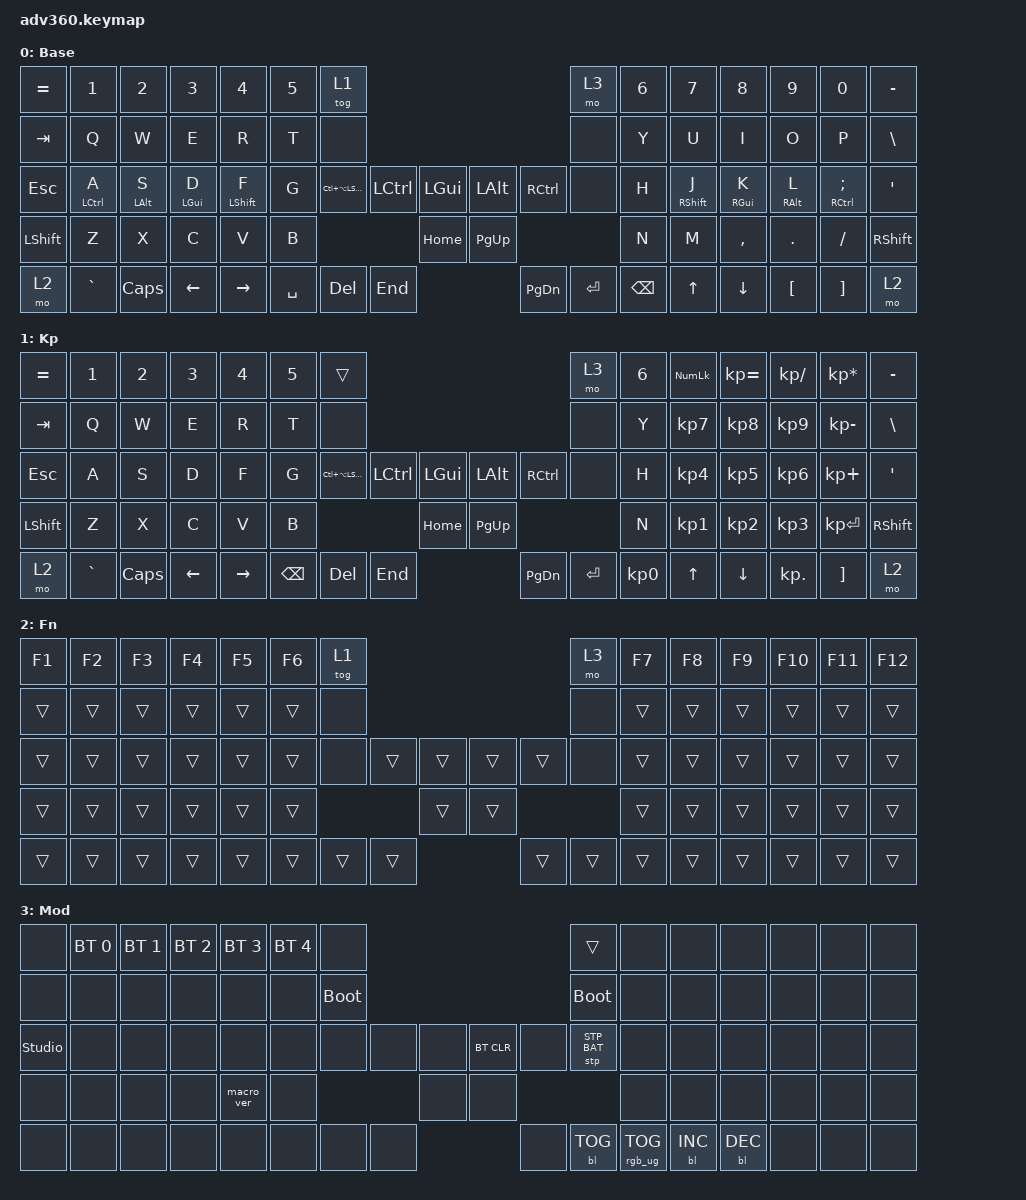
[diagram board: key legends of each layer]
#include <behaviors.dtsi>
#include <dt-bindings/zmk/keys.h>
#include <dt-bindings/zmk/bt.h>
#include <dt-bindings/zmk/rgb.h>
#include <dt-bindings/zmk/stp.h>
#include <dt-bindings/zmk/backlight.h>
#include <dt-bindings/zmk/pointing.h>

/* Key positions, from assets/key-positions.md. Used by the positional
 * hold-tap below: a home row mod only engages when the key that follows
 * it is on the other hand or on a thumb. */
#define KEYS_L   0  1  2  3  4  5  6 \
                14 15 16 17 18 19 20 \
                28 29 30 31 32 33 34 \
                46 47 48 49 50 51    \
                60 61 62 63 64

#define KEYS_R   7  8  9 10 11 12 13 \
                21 22 23 24 25 26 27 \
                39 40 41 42 43 44 45 \
                   54 55 56 57 58 59 \
                      71 72 73 74 75

#define THUMBS  35 36 37 38 52 53 65 66 67 68 69 70

/ {
    behaviors {
      #include "macros.dtsi"
      #include "version.dtsi"

      hm: homerow_mods {
          compatible = "zmk,behavior-hold-tap";
          label = "HOMEROW_MODS";
          #binding-cells = <2>;
          tapping-term-ms = <200>;
          quick_tap_ms = <175>;
          flavor = "tap-preferred";
          bindings = <&kp>, <&kp>;
      };

      /* Home row mods, CAGS order. Tuned against fast typing:
       * balanced      - a hold needs the next key pressed AND released while held
       * prior-idle    - within 150ms of the previous keypress it is always a tap,
       *                 which is what kills misfires mid-word
       * positional    - only the opposite hand and the thumbs can trigger a hold,
       *                 so same-hand rolls like "as" or "df" stay letters
       * on-release    - the decision waits for release, so mods still chain
       */
      hml: home_row_mod_left {
          compatible = "zmk,behavior-hold-tap";
          label = "HOME_ROW_MOD_LEFT";
          #binding-cells = <2>;
          flavor = "balanced";
          tapping-term-ms = <280>;
          quick-tap-ms = <175>;
          require-prior-idle-ms = <150>;
          bindings = <&kp>, <&kp>;
          hold-trigger-key-positions = <KEYS_R THUMBS>;
          hold-trigger-on-release;
      };

      hmr: home_row_mod_right {
          compatible = "zmk,behavior-hold-tap";
          label = "HOME_ROW_MOD_RIGHT";
          #binding-cells = <2>;
          flavor = "balanced";
          tapping-term-ms = <280>;
          quick-tap-ms = <175>;
          require-prior-idle-ms = <150>;
          bindings = <&kp>, <&kp>;
          hold-trigger-key-positions = <KEYS_L THUMBS>;
          hold-trigger-on-release;
      };
    };

  keymap {
    compatible = "zmk,keymap";

    default_layer {
      display-name = "Base";
      bindings = <
        &kp EQUAL &kp N1    &kp N2   &kp N3   &kp N4     &kp N5 &tog 1                                                           &mo 3 &kp N6 &kp N7 &kp N8    &kp N9   &kp N0   &kp MINUS
        &kp TAB   &kp Q     &kp W    &kp E    &kp R      &kp T  &none                                                            &none &kp Y  &kp U  &kp I     &kp O    &kp P    &kp BSLH
        &kp ESC   &hml LCTRL A &hml LALT S &hml LGUI D &hml LSHFT F &kp G  &kp LC(LA(LSHFT))    &kp LCTRL &kp LGUI &kp LALT  &kp RCTRL           &none &kp H  &hmr RSHFT J &hmr RGUI K &hmr RALT L &hmr RCTRL SEMI &kp SQT
        &kp LSHFT &kp Z     &kp X    &kp C    &kp V      &kp B                            &kp HOME &kp PG_UP                           &kp N  &kp M  &kp COMMA &kp DOT  &kp FSLH &kp RSHFT
        &mo 2     &kp GRAVE &kp CAPS &kp LEFT &kp RIGHT                 &kp SPACE &kp DEL  &kp END  &kp PG_DN &kp ENTER &kp BSPC               &kp UP   &kp DOWN &kp LBKT &kp RBKT &mo 2
      >;
    };
    keypad {
      display-name = "Kp";
      bindings = <
        &kp EQUAL &kp N1    &kp N2   &kp N3   &kp N4     &kp N5 &trans                                                           &mo 3 &kp N6 &kp KP_NUM &kp KP_EQUAL &kp KP_DIVIDE &kp KP_MULTIPLY &kp MINUS
        &kp TAB   &kp Q     &kp W    &kp E    &kp R      &kp T  &none                                                            &none &kp Y  &kp KP_N7  &kp KP_N8    &kp KP_N9     &kp KP_MINUS    &kp BSLH
        &kp ESC   &kp A     &kp S    &kp D    &kp F      &kp G  &kp LC(LA(LSHFT))           &kp LCTRL &kp LGUI &kp LALT  &kp RCTRL           &none &kp H  &kp KP_N4  &kp KP_N5    &kp KP_N6     &kp KP_PLUS     &kp SQT
        &kp LSHFT &kp Z     &kp X    &kp C    &kp V      &kp B                            &kp HOME &kp PG_UP                           &kp N  &kp KP_N1  &kp KP_N2    &kp KP_N3     &kp KP_ENTER    &kp RSHFT
        &mo 2     &kp GRAVE &kp CAPS &kp LEFT &kp RIGHT                &kp BSPC &kp DEL   &kp END  &kp PG_DN &kp ENTER &kp KP_N0              &kp UP     &kp DOWN     &kp KP_DOT    &kp RBKT        &mo 2
      >;
    };
    fn {
      display-name = "Fn";
      bindings = <
        &kp F1 &kp F2 &kp F3 &kp F4 &kp F5 &kp F6 &tog 1                                           &mo 3 &kp F7 &kp F8 &kp F9 &kp F10 &kp F11 &kp F12
        &trans &trans &trans &trans &trans &trans  &none                                           &none &trans &trans &trans &trans  &trans  &trans
        &trans &trans &trans &trans &trans &trans  &none        &trans &trans &trans &trans        &none &trans &trans &trans &trans  &trans  &trans
        &trans &trans &trans &trans &trans &trans                      &trans &trans                     &trans &trans &trans &trans  &trans  &trans
        &trans &trans &trans &trans &trans               &trans &trans &trans &trans &trans &trans              &trans &trans &trans  &trans  &trans
      >;
    };
    mod {
      display-name = "Mod";
      bindings = <
        &none &bt BT_SEL 0 &bt BT_SEL 1 &bt BT_SEL 2 &bt BT_SEL 3 &bt BT_SEL 4 &none                                                                     &trans                 &none        &none        &none        &none &none &none
        &none &none        &none        &none        &none        &none        &bootloader                                                               &bootloader            &none        &none        &none        &none &none &none
        &studio_unlock &none        &none        &none        &none        &none        &none                   &none &none &bt BT_CLR &none                      &stp STP_BAT &none        &none        &none        &none &none &none
        &none &none        &none        &none        &macro_ver   &none                                      &none &none                                                        &none        &none        &none        &none &none &none
        &none &none        &none        &none        &none                                       &none &none &none &none      &bl BL_TOG &rgb_ug RGB_TOG                                     &bl BL_INC   &bl BL_DEC   &none &none &none
      >;
    };
    extra1 { 
      display-name = "Red";    
      status = "reserved";
    };

    extra2 { 
      display-name = "Purple";    
      status = "reserved";
    };

    extra3 { 
      display-name = "Cyan";    
      status = "reserved";
    };

    extra4 { 
      display-name = "Yellow";    
      status = "reserved";
    };
  };
};
